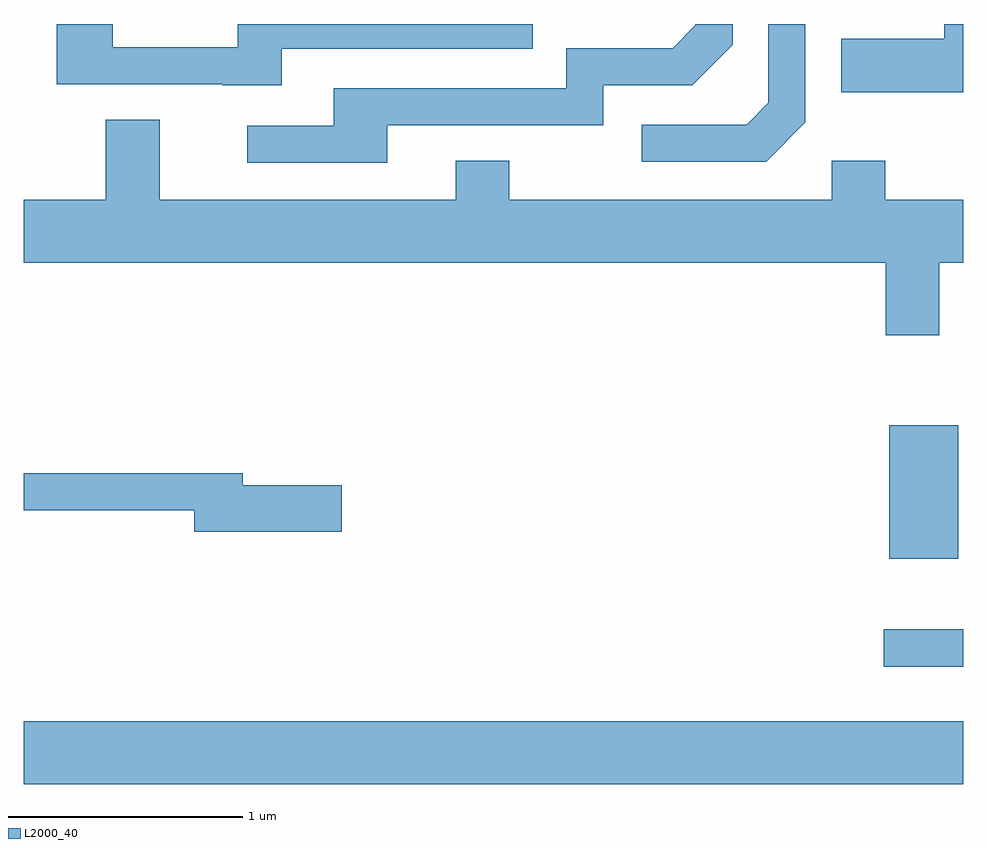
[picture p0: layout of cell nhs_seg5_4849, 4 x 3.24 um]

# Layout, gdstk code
import gdstk
lib = gdstk.Library(unit=1e-6, precision=1e-09)
def R(c, l, rs):  # rectangles x0, y0, x1, y1
    for r in rs: c.add(gdstk.rectangle(r[:2], r[2:], *l))
def P(c, l, *ps):  # polygons
    for p in ps: c.add(gdstk.Polygon(p, *l))
L2000_40 = (2000, 40)

nhs_seg5_4849 = lib.new_cell('nhs_seg5_4849')
R(nhs_seg5_4849, L2000_40, [(329.611,1416.836,333.611,1417.104), (333.273,1417.336,333.611,1417.494), (333.296,1417.796,333.589,1418.364)])
P(nhs_seg5_4849, L2000_40, [(330.709,1419.966),(331.778,1419.966),(331.778,1420.072),(330.521,1420.072),(330.521,1419.974),(329.989,1419.974),(329.989,1420.072),(329.751,1420.072),(329.751,1419.816),(330.455,1419.816),(330.455,1419.811),(330.709,1419.811)],
  [(332.939,1419.654),(332.939,1420.072),(332.781,1420.072),(332.781,1419.737),(332.689,1419.644),(332.243,1419.644),(332.243,1419.486),(332.772,1419.486)],
  [(331.159,1419.641),(332.079,1419.641),(332.079,1419.811),(332.457,1419.811),(332.629,1419.984),(332.629,1420.072),(332.471,1420.072),(332.471,1420.067),(332.374,1419.969),(331.921,1419.969),(331.921,1419.799),(330.931,1419.799),(330.931,1419.639),(330.563,1419.639),(330.563,1419.481),(331.159,1419.481)],
  [(333.611,1420.072),(333.531,1420.072),(333.531,1420.009),(333.091,1420.009),(333.091,1419.781),(333.611,1419.781)],
  [(333.509,1419.056),(333.611,1419.056),(333.611,1419.324),(333.279,1419.324),(333.279,1419.489),(333.051,1419.489),(333.051,1419.324),(331.679,1419.324),(331.679,1419.489),(331.451,1419.489),(331.451,1419.324),(330.189,1419.324),(330.189,1419.664),(329.961,1419.664),(329.961,1419.324),(329.611,1419.324),(329.611,1419.056),(333.281,1419.056),(333.281,1418.746),(333.509,1418.746)],
  [(330.964,1418.109),(330.544,1418.109),(330.544,1418.159),(329.611,1418.159),(329.611,1418.001),(330.336,1418.001),(330.336,1417.911),(330.964,1417.911)])

lib.write_gds('nhs_seg5_4849.gds')
